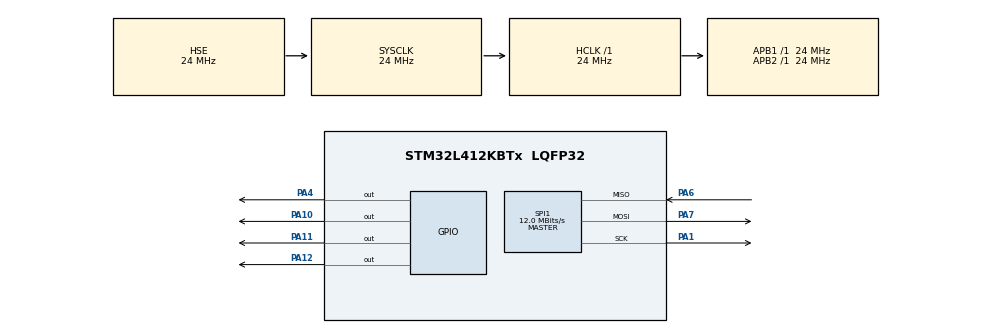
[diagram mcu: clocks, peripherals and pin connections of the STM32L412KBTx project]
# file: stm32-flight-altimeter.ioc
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Mcu.Family=STM32L4
Mcu.Name=STM32L412KBTx
Mcu.Package=LQFP32
NVIC.PriorityGroup=NVIC_PRIORITYGROUP_4
PA0-CK_IN.Mode=HSE-External-Clock-Source-for-LittleOrca
PA0-CK_IN.Signal=RCC_CK_IN
PA1.Mode=Full_Duplex_Master
PA1.Signal=SPI1_SCK
PA10.Signal=GPIO_Output
PA11.Signal=GPIO_Output
PA12.Signal=GPIO_Output
PA4.Signal=GPIO_Output
PA6.Mode=Full_Duplex_Master
PA6.Signal=SPI1_MISO
PA7.Mode=Full_Duplex_Master
PA7.Signal=SPI1_MOSI
ProjectManager.HeapSize=0x200
ProjectManager.StackSize=0x400
ProjectManager.TargetToolchain=STM32CubeIDE
RCC.ADCFreq_Value=24000000
RCC.AHBFreq_Value=24000000
RCC.APB1Freq_Value=24000000
RCC.APB1TimFreq_Value=24000000
RCC.APB2Freq_Value=24000000
RCC.APB2TimFreq_Value=24000000
RCC.CortexFreq_Value=24000000
RCC.HCLKFreq_Value=24000000
RCC.HSE_VALUE=24000000
RCC.HSI48_VALUE=48000000
RCC.HSI_VALUE=16000000
RCC.LSE_VALUE=32768
RCC.MSIClockRange=RCC_MSIRANGE_8
RCC.MSI_VALUE=16000000
RCC.PLLSourceVirtual=RCC_PLLSOURCE_HSE
RCC.SYSCLKFreq_VALUE=24000000
RCC.SYSCLKSource=RCC_SYSCLKSOURCE_HSE
RCC.USBFreq_Value=16000000
RCC.VCOOutputFreq_Value=192000000
SPI1.CalculateBaudRate=12.0 MBits/s
SPI1.DataSize=SPI_DATASIZE_8BIT
SPI1.Direction=SPI_DIRECTION_2LINES
SPI1.Mode=SPI_MODE_MASTER
SPI1.VirtualType=VM_MASTER
board=custom

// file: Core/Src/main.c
/* USER CODE BEGIN Header */
/**
  ******************************************************************************
  * @file           : main.c
  * @brief          : Main program body
  ******************************************************************************
  * @attention
  *
  * <h2><center>&copy; Copyright (c) 2021 STMicroelectronics.
  * All rights reserved.</center></h2>
  *
  * This software component is licensed by ST under BSD 3-Clause license,
  * the "License"; You may not use this file except in compliance with the
  * License. You may obtain a copy of the License at:
  *                        opensource.org/licenses/BSD-3-Clause
  *
  ******************************************************************************
  */
/* USER CODE END Header */
#include "main.h"

/* USER CODE BEGIN PTD */
typedef struct {
	int16_t accel_x;
	int16_t accel_y;
	int16_t accel_z;
} accel_data;
typedef struct {
	int16_t gyro_x;
	int16_t gyro_y;
	int16_t gyro_z;
} gyro_data;
typedef struct {
	int16_t magnet_x;
	int16_t magnet_y;
	int16_t magnet_z;
} magnet_data;
typedef struct {
	accel_data accel;
	gyro_data gyro;
	magnet_data magnet;
} flight_data;

/* USER CODE END PTD */

SPI_HandleTypeDef hspi1;

/* USER CODE BEGIN PV */
const uint8_t baro_reset_byte = 0b00011110;
/* USER CODE END PV */

void SystemClock_Config(void);
static void MX_GPIO_Init(void);
static void MX_SPI1_Init(void);

int main(void)
{

  /* MCU Configuration--------------------------------------------------------*/

  /* Reset of all peripherals, Initializes the Flash interface and the Systick. */
  HAL_Init();

  /* Configure the system clock */
  SystemClock_Config();

  /* Initialize all configured peripherals */
  MX_GPIO_Init();
  MX_SPI1_Init();

  /* Infinite loop */
  while (1)
  {

  }
}

void SystemClock_Config(void)
{
  RCC_OscInitTypeDef RCC_OscInitStruct = {0};
  RCC_ClkInitTypeDef RCC_ClkInitStruct = {0};

  /** Configure the main internal regulator output voltage
  */
  if (HAL_PWREx_ControlVoltageScaling(PWR_REGULATOR_VOLTAGE_SCALE1) != HAL_OK)
  {
    Error_Handler();
  }
  /** Initializes the RCC Oscillators according to the specified parameters
  * in the RCC_OscInitTypeDef structure.
  */
  RCC_OscInitStruct.OscillatorType = RCC_OSCILLATORTYPE_HSE;
  RCC_OscInitStruct.HSEState = RCC_HSE_BYPASS;
  RCC_OscInitStruct.PLL.PLLState = RCC_PLL_NONE;
  if (HAL_RCC_OscConfig(&RCC_OscInitStruct) != HAL_OK)
  {
    Error_Handler();
  }
  /** Initializes the CPU, AHB and APB buses clocks
  */
  RCC_ClkInitStruct.ClockType = RCC_CLOCKTYPE_HCLK|RCC_CLOCKTYPE_SYSCLK
                              |RCC_CLOCKTYPE_PCLK1|RCC_CLOCKTYPE_PCLK2;
  RCC_ClkInitStruct.SYSCLKSource = RCC_SYSCLKSOURCE_HSE;
  RCC_ClkInitStruct.AHBCLKDivider = RCC_SYSCLK_DIV1;
  RCC_ClkInitStruct.APB1CLKDivider = RCC_HCLK_DIV1;
  RCC_ClkInitStruct.APB2CLKDivider = RCC_HCLK_DIV1;

  if (HAL_RCC_ClockConfig(&RCC_ClkInitStruct, FLASH_LATENCY_1) != HAL_OK)
  {
    Error_Handler();
  }
}

static void MX_SPI1_Init(void)
{

  /* SPI1 parameter configuration*/
  hspi1.Instance = SPI1;
  hspi1.Init.Mode = SPI_MODE_MASTER;
  hspi1.Init.Direction = SPI_DIRECTION_2LINES;
  hspi1.Init.DataSize = SPI_DATASIZE_8BIT;
  hspi1.Init.CLKPolarity = SPI_POLARITY_LOW;
  hspi1.Init.CLKPhase = SPI_PHASE_1EDGE;
  hspi1.Init.NSS = SPI_NSS_SOFT;
  hspi1.Init.BaudRatePrescaler = SPI_BAUDRATEPRESCALER_2;
  hspi1.Init.FirstBit = SPI_FIRSTBIT_MSB;
  hspi1.Init.TIMode = SPI_TIMODE_DISABLE;
  hspi1.Init.CRCCalculation = SPI_CRCCALCULATION_DISABLE;
  hspi1.Init.CRCPolynomial = 7;
  hspi1.Init.CRCLength = SPI_CRC_LENGTH_DATASIZE;
  hspi1.Init.NSSPMode = SPI_NSS_PULSE_ENABLE;
  if (HAL_SPI_Init(&hspi1) != HAL_OK)
  {
    Error_Handler();
  }

}

static void MX_GPIO_Init(void)
{
  GPIO_InitTypeDef GPIO_InitStruct = {0};

  /* GPIO Ports Clock Enable */
  __HAL_RCC_GPIOA_CLK_ENABLE();

  /*Configure GPIO pin Output Level */
  HAL_GPIO_WritePin(GPIOA, GPIO_PIN_4|GPIO_PIN_10|GPIO_PIN_11|GPIO_PIN_12, GPIO_PIN_RESET);

  /*Configure GPIO pins : PA4 PA10 PA11 PA12 */
  GPIO_InitStruct.Pin = GPIO_PIN_4|GPIO_PIN_10|GPIO_PIN_11|GPIO_PIN_12;
  GPIO_InitStruct.Mode = GPIO_MODE_OUTPUT_PP;
  GPIO_InitStruct.Pull = GPIO_NOPULL;
  GPIO_InitStruct.Speed = GPIO_SPEED_FREQ_LOW;
  HAL_GPIO_Init(GPIOA, &GPIO_InitStruct);

}

/* USER CODE BEGIN 4 */
void read_spi_baro(void) {
	HAL_GPIO_WritePin(GPIOA, GPIO_PIN_10, GPIO_PIN_RESET);
	HAL_SPI_Transmit(&hspi1, baro_reset_byte, 1, 10);
	HAL_GPIO_WritePin(GPIOA, GPIO_PIN_10, GPIO_PIN_SET);
}

void read_spi_9dof(void) {
	HAL_GPIO_WritePin(GPIOA, GPIO_PIN_11, GPIO_PIN_RESET);

	HAL_GPIO_WritePin(GPIOA, GPIO_PIN_11, GPIO_PIN_SET);
}

void write_spi_flash(void) {
	HAL_GPIO_WritePin(GPIOA, GPIO_PIN_12, GPIO_PIN_RESET);

	HAL_GPIO_WritePin(GPIOA, GPIO_PIN_12, GPIO_PIN_SET);
}
/* USER CODE END 4 */

void Error_Handler(void)
{
}

/************************ (C) COPYRIGHT STMicroelectronics *****END OF FILE****/
